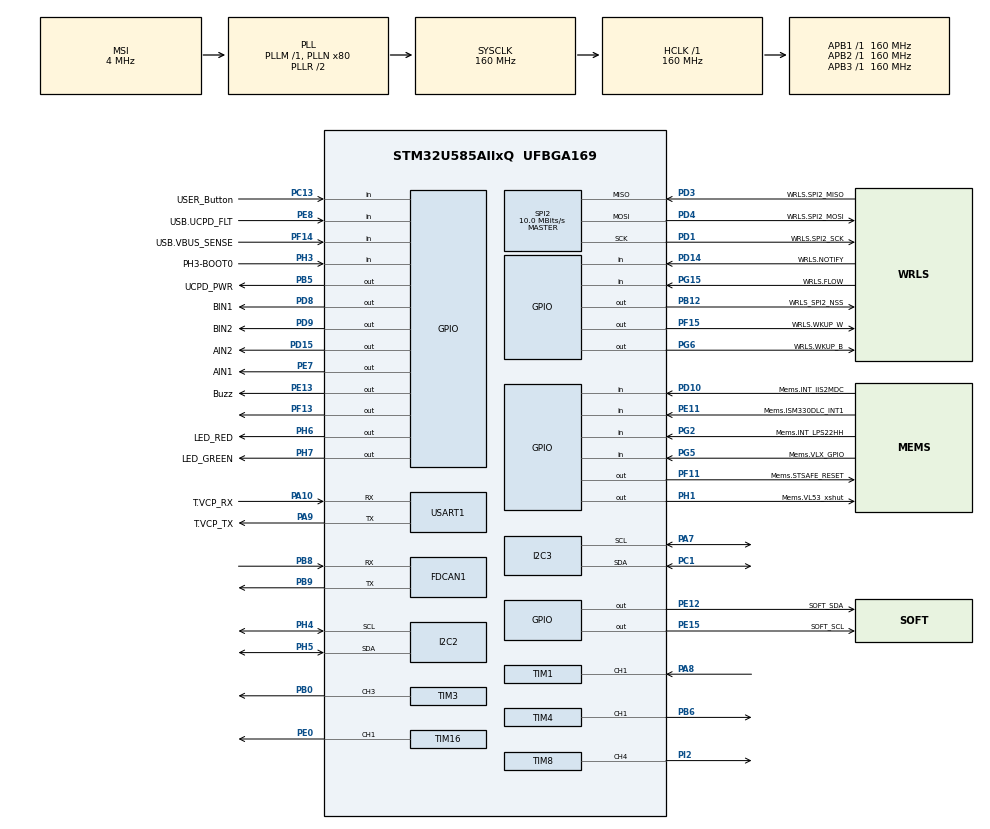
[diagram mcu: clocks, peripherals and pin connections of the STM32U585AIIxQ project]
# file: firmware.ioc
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CORTEX_M33_NS.userName=CORTEX_M33
FDCAN1.AutoRetransmission=ENABLE
FDCAN1.CalculateBaudRateNominal=1000000
FDCAN1.CalculateTimeBitNominal=1000
FDCAN1.CalculateTimeQuantumNominal=62.5
FDCAN1.NominalPrescaler=10
FDCAN1.NominalSyncJumpWidth=2
FDCAN1.NominalTimeSeg1=13
FDCAN1.NominalTimeSeg2=2
FDCAN1.StdFiltersNbr=1
FDCAN1.TxFifoQueueMode=FDCAN_TX_QUEUE_OPERATION
I2C2.Timing=0x30909DEC
I2C3.Timing=0x30909DEC
Mcu.Family=STM32U5
Mcu.Name=STM32U585AIIxQ
Mcu.Package=UFBGA169
NVIC.PriorityGroup=NVIC_PRIORITYGROUP_4
PA10.GPIO_Label=T.VCP_RX
PA10.Mode=Asynchronous
PA10.Signal=USART1_RX
PA11.GPIO_Label=USB.C_P
PA11.Signal=USB_OTG_FS_DM
PA12.GPIO_Label=USB.C_P
PA12.Signal=USB_OTG_FS_DP
PA13\ (JTMS/SWDIO).GPIO_Label=T.SWDIO
PA13\ (JTMS/SWDIO).Signal=DEBUG_JTMS-SWDIO
PA14\ (JTCK/SWCLK).GPIO_Label=T.SWCLK
PA14\ (JTCK/SWCLK).Signal=DEBUG_JTCK-SWCLK
PA15\ (JTDI).GPIO_Label=USB.UCPD_CC1
PA15\ (JTDI).Signal=UCPD1_CC1
PA7.GPIO_Pu=GPIO_PULLUP
PA7.Mode=I2C
PA7.Signal=I2C3_SCL
PA8.Signal=S_TIM1_CH1
PA9.GPIO_Label=T.VCP_TX
PA9.Mode=Asynchronous
PA9.Signal=USART1_TX
PB0.Signal=S_TIM3_CH3
PB1.GPIO_Label=MIC.SDIN0
PB1.Signal=MDF1_SDI0
PB10.GPIO_Label=OCTOSPI.R_CLK_P
PB10.Signal=OCTOSPIM_P1_CLK
PB11.GPIO_Label=OCTOSPI.R_NCS
PB11.Signal=OCTOSPIM_P1_NCS
PB12.GPIO_Label=WRLS_SPI2_NSS
PB12.PinState=GPIO_PIN_SET
PB12.Signal=GPIO_Output
PB15.GPIO_Label=USB.UCPD_CC2
PB15.Signal=UCPD1_CC2
PB2.Signal=TIM8_CH4N
PB3\ (JTDO/TRACESWO).GPIO_Label=T.SWO
PB3\ (JTDO/TRACESWO).Signal=DEBUG_JTDO-SWO
PB5.GPIO_Label=UCPD_PWR
PB5.Signal=GPIO_Output
PB6.Signal=S_TIM4_CH1
PB8.Mode=FDCAN_Activate
PB8.Signal=FDCAN1_RX
PB9.Mode=FDCAN_Activate
PB9.Signal=FDCAN1_TX
PC1.GPIO_Pu=GPIO_PULLUP
PC1.Mode=I2C
PC1.Signal=I2C3_SDA
PC10.GPIO_Label=WRLS.UART4_TX
PC10.Signal=UART4_TX
PC11.GPIO_Label=WRLS.UART4_RX
PC11.Signal=UART4_RX
PC13.GPIO_Label=USER_Button
PC13.Signal=GPIO_Input
PC14-OSC32_IN\ (PC14).GPIO_Label=PC14-OSC32_IN
PC14-OSC32_IN\ (PC14).Signal=RCC_OSC32_IN
PC15-OSC32_OUT\ (PC15).GPIO_Label=PC15-OSC32_OUT
PC15-OSC32_OUT\ (PC15).Signal=RCC_OSC32_OUT
PC3.GPIO_Label=OCTOSPI.R_IO6
PC3.Signal=OCTOSPIM_P1_IO6
PD1.GPIO_Label=WRLS.SPI2_SCK
PD1.Mode=Full_Duplex_Master
PD1.Signal=SPI2_SCK
PD10.GPIO_Label=Mems.INT_IIS2MDC
PD10.Signal=GPIO_Input
PD14.GPIO_Label=WRLS.NOTIFY
PD14.Signal=GPIO_Input
PD15.GPIO_Label=AIN2
PD15.Signal=GPIO_Output
PD3.GPIO_Label=WRLS.SPI2_MISO
PD3.Mode=Full_Duplex_Master
PD3.Signal=SPI2_MISO
PD4.GPIO_Label=WRLS.SPI2_MOSI
PD4.Mode=Full_Duplex_Master
PD4.Signal=SPI2_MOSI
PD7.GPIO_Label=OCTOSPI.R_IO7
PD7.Signal=OCTOSPIM_P1_IO7
PD8.GPIO_Label=BIN1
PD8.Signal=GPIO_Output
PD9.GPIO_Label=BIN2
PD9.Signal=GPIO_Output
PE0.Signal=S_TIM16_CH1
PE10.GPIO_Label=MIC.SDINx
PE10.Signal=ADF1_SDI0
PE11.GPIO_Label=Mems.ISM330DLC_INT1
PE11.Signal=GPIO_Input
PE12.GPIO_Label=SOFT_SDA
PE12.GPIO_ModeDefaultOutputPP=GPIO_MODE_OUTPUT_OD
PE12.GPIO_PuPd=GPIO_NOPULL
PE12.PinState=GPIO_PIN_SET
PE12.Signal=GPIO_Output
PE13.GPIO_Label=Buzz
PE13.PinState=GPIO_PIN_RESET
PE13.Signal=GPIO_Output
PE15.GPIO_Label=SOFT_SCL
PE15.GPIO_ModeDefaultOutputPP=GPIO_MODE_OUTPUT_OD
PE15.GPIO_PuPd=GPIO_NOPULL
PE15.PinState=GPIO_PIN_SET
PE15.Signal=GPIO_Output
PE3.GPIO_Label=OCTOSPI.R_DQS
PE3.Signal=OCTOSPIM_P1_DQS
PE7.GPIO_Label=AIN1
PE7.Signal=GPIO_Output
PE8.GPIO_Label=USB.UCPD_FLT
PE8.Signal=GPIO_Input
PE9.GPIO_Label=MIC.CCK0
PE9.Signal=ADF1_CCK0
PF0.GPIO_Label=OCTOSPI.F_IO0
PF0.Signal=OCTOSPIM_P2_IO0
PF1.GPIO_Label=OCTOSPI.F_IO1
PF1.Signal=OCTOSPIM_P2_IO1
PF10.GPIO_Label=MIC.CCK1
PF10.Signal=MDF1_CCK1
PF11.GPIO_Label=Mems.STSAFE_RESET
PF11.Signal=GPIO_Output
PF12.GPIO_Label=OCTOSPI.F_DQS
PF12.Signal=OCTOSPIM_P2_DQS
PF13.PinState=GPIO_PIN_SET
PF13.Signal=GPIO_Output
PF14.GPIO_Label=USB.VBUS_SENSE
PF14.Signal=GPIO_Input
PF15.GPIO_Label=WRLS.WKUP_W
PF15.Signal=GPIO_Output
PF2.GPIO_Label=OCTOSPI.F_IO2
PF2.Signal=OCTOSPIM_P2_IO2
PF3.GPIO_Label=OCTOSPI.F_IO3
PF3.Signal=OCTOSPIM_P2_IO3
PF4.GPIO_Label=OCTOSPI.F_CLK_P
PF4.Signal=OCTOSPIM_P2_CLK
PF6.GPIO_Label=OCTOSPI.R_IO3
PF6.Signal=OCTOSPIM_P1_IO3
PF7.GPIO_Label=OCTOSPI.R_IO2
PF7.Signal=OCTOSPIM_P1_IO2
PF8.GPIO_Label=OCTOSPI.R_IO0
PF8.Signal=OCTOSPIM_P1_IO0
PF9.GPIO_Label=OCTOSPI.R_IO1
PF9.Signal=OCTOSPIM_P1_IO1
PG15.GPIO_Label=WRLS.FLOW
PG15.Signal=GPIO_Input
PG2.GPIO_Label=Mems.INT_LPS22HH
PG2.Signal=GPIO_Input
PG5.GPIO_Label=Mems.VLX_GPIO
PG5.Signal=GPIO_Input
PG6.GPIO_Label=WRLS.WKUP_B
PG6.Signal=GPIO_Output
PH1-OSC_OUT\ (PH1).GPIO_Label=Mems.VL53_xshut
PH1-OSC_OUT\ (PH1).Signal=GPIO_Output
PH10.GPIO_Label=OCTOSPI.F_IO5
PH10.Signal=OCTOSPIM_P2_IO5
PH11.GPIO_Label=OCTOSPI.F_IO6
PH11.Signal=OCTOSPIM_P2_IO6
PH12.GPIO_Label=OCTOSPI.F_IO7
PH12.Signal=OCTOSPIM_P2_IO7
PH2.GPIO_Label=OCTOSPI.R_IO4
PH2.Signal=OCTOSPIM_P1_IO4
PH3-BOOT0.GPIO_Label=PH3-BOOT0
PH3-BOOT0.Signal=GPIO_Input
PH4.Mode=I2C
PH4.Signal=I2C2_SCL
PH5.Mode=I2C
PH5.Signal=I2C2_SDA
PH6.GPIO_Label=LED_RED
PH6.Signal=GPIO_Output
PH7.GPIO_Label=LED_GREEN
PH7.Signal=GPIO_Output
PH9.GPIO_Label=OCTOSPI.F_IO4
PH9.Signal=OCTOSPIM_P2_IO4
PI0.GPIO_Label=OCTOSPI.R_IO5
PI0.Signal=OCTOSPIM_P1_IO5
PI2.Signal=S_TIM8_CH4
PI5.GPIO_Label=OCTOSPI.F_NCS
PI5.Signal=OCTOSPIM_P2_NCS
PWR.PowerMode=PWR_SMPS_SUPPLY
ProjectManager.HeapSize=0x200
ProjectManager.StackSize=0x400
ProjectManager.TargetToolchain=STM32CubeIDE
RCC.ADCFreq_Value=16000000
RCC.AHBFreq_Value=160000000
RCC.APB1Freq_Value=160000000
RCC.APB1TimFreq_Value=160000000
RCC.APB2Freq_Value=160000000
RCC.APB2TimFreq_Value=160000000
RCC.APB3Freq_Value=160000000
RCC.CortexFreq_Value=160000000
RCC.DACCLockSelectionVirtual=RCC_DAC1CLKSOURCE_LSI
RCC.EPOD_VALUE=4000000
RCC.HCLKFreq_Value=160000000
RCC.HSE_VALUE=16000000
RCC.HSI48_VALUE=48000000
RCC.HSI_VALUE=16000000
RCC.LSE_VALUE=32768
RCC.LSIDIV_VALUE=32000
RCC.MSI_VALUE=4000000
RCC.PLLFRACN=0
RCC.PLLN=80
RCC.SYSCLKFreq_VALUE=160000000
RCC.SYSCLKSource=RCC_SYSCLKSOURCE_PLLCLK
RCC.USBFreq_Value=48000000
RCC.VCOOutputFreq_Value=320000000
SH.S_TIM16_CH1.0=TIM16_CH1,PWM Generation1 CH1
SH.S_TIM1_CH1.0=TIM1_CH1,TriggerSource_TI1FP1
SH.S_TIM3_CH3.0=TIM3_CH3,PWM Generation3 CH3
SH.S_TIM4_CH1.0=TIM4_CH1,PWM Generation1 CH1
SH.S_TIM8_CH4.0=TIM8_CH4,PWM Generation4 CH4
SPI2.BaudRatePrescaler=SPI_BAUDRATEPRESCALER_16
SPI2.CalculateBaudRate=10.0 MBits/s
SPI2.DataSize=SPI_DATASIZE_8BIT
SPI2.Direction=SPI_DIRECTION_2LINES
SPI2.Mode=SPI_MODE_MASTER
SPI2.NSSPMode=SPI_NSS_PULSE_DISABLE
SPI2.VirtualType=VM_MASTER
TIM1.Slave_TriggerFilter=15
TIM16.AutoReloadPreload=TIM_AUTORELOAD_PRELOAD_ENABLE
TIM16.Channel=TIM_CHANNEL_1
TIM16.PeriodNoDither=655
TIM16.Prescaler=15
TIM3.AutoReloadPreload=TIM_AUTORELOAD_PRELOAD_ENABLE
TIM3.Channel-PWM\ Generation3\ CH3=TIM_CHANNEL_3
TIM3.PeriodNoDither=1000
TIM3.Prescaler=159
TIM3.PulseNoDither_3=500
TIM4.AutoReloadPreload=TIM_AUTORELOAD_PRELOAD_ENABLE
TIM4.Channel-PWM\ Generation1\ CH1=TIM_CHANNEL_1
TIM4.PeriodNoDither=665
TIM4.Prescaler=15
TIM8.AutoReloadPreload=TIM_AUTORELOAD_PRELOAD_ENABLE
TIM8.Channel-PWM\ Generation4\ CH4=TIM_CHANNEL_4
TIM8.PeriodNoDither=19999
TIM8.Prescaler=159
TIM8.PulseNoDither_4=1500
USART1.VirtualMode-Asynchronous=VM_ASYNC
VP_ICACHE_VS_ICACHE.Mode=DirectMappedCache
VP_LPBAMQUEUE_VS_QUEUE.Mode=QUEUEMODE
VP_LPBAM_VS_SIG1.Mode=SmartRun
VP_LPBAM_VS_SIG4.Mode=LPDMA1
VP_MEMORYMAP_VS_MEMORYMAP.Mode=CurAppReg
VP_PWR_VS_LPOM.Mode=PowerOptimisation
VP_PWR_VS_SECSignals.Mode=Security/Privilege
VP_THREADX_VS_RTOSJjThreadXJjCoreJjDefault.Mode=Core_Default
VP_TIM16_VS_ClockSourceINT.Mode=Enable_Timer
VP_TIM1_VS_ControllerModeClock.Mode=Clock Mode
VP_TIM3_VS_ClockSourceINT.Mode=Internal
VP_TIM4_VS_ClockSourceINT.Mode=Internal
VP_TIM8_VS_ClockSourceINT.Mode=Internal
board=B-U585I-IOT02A

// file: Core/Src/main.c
/* USER CODE BEGIN Header */
/**
******************************************************************************
* @file           : main.c
* @brief          : Main program body
******************************************************************************
* @attention
*
* Copyright (c) 2025 STMicroelectronics.
* All rights reserved.
*
* This software is licensed under terms that can be found in the LICENSE file
* in the root directory of this software component.
* If no LICENSE file comes with this software, it is provided AS-IS.
*
******************************************************************************
*/
/* USER CODE END Header */
#include "app_threadx.h"
#include "main.h"

/* USER CODE BEGIN Includes */
#include "speed_sensor.h"
/* USER CODE END Includes */

FDCAN_HandleTypeDef hfdcan1;

I2C_HandleTypeDef hi2c2;
I2C_HandleTypeDef hi2c3;

SPI_HandleTypeDef hspi2;

TIM_HandleTypeDef htim1;
TIM_HandleTypeDef htim3;
TIM_HandleTypeDef htim4;
TIM_HandleTypeDef htim8;
TIM_HandleTypeDef htim16;

UART_HandleTypeDef huart1;

void SystemClock_Config(void);
static void SystemPower_Config(void);
static void MX_GPIO_Init(void);
static void MX_ICACHE_Init(void);
static void MX_FDCAN1_Init(void);
static void MX_USART1_UART_Init(void);
static void MX_TIM1_Init(void);
static void MX_I2C3_Init(void);
static void MX_I2C2_Init(void);
static void MX_TIM4_Init(void);
static void MX_TIM8_Init(void);
static void MX_TIM16_Init(void);
static void MX_SPI2_Init(void);
static void MX_TIM3_Init(void);

int main(void)
{

  /* MCU Configuration--------------------------------------------------------*/

  /* Reset of all peripherals, Initializes the Flash interface and the Systick. */
  HAL_Init();

  /* Configure the System Power */
  SystemPower_Config();

  /* Configure the system clock */
  SystemClock_Config();

  /* Initialize all configured peripherals */
  MX_GPIO_Init();
  MX_ICACHE_Init();
  MX_FDCAN1_Init();
  MX_USART1_UART_Init();
  MX_TIM1_Init();
  MX_I2C3_Init();
  MX_I2C2_Init();
  MX_TIM4_Init();
  MX_TIM8_Init();
  MX_TIM16_Init();
  MX_SPI2_Init();
  MX_TIM3_Init();
  /* USER CODE BEGIN 2 */
  HAL_NVIC_SetPriority(SPI2_IRQn, 5, 0);
  HAL_NVIC_EnableIRQ(SPI2_IRQn);
  HAL_TIM_PWM_Start(&htim4, TIM_CHANNEL_1);   // PWMA
  HAL_TIM_PWM_Start(&htim16, TIM_CHANNEL_1);  // PWMB
  HAL_TIMEx_OCN_Start(&htim8, TIM_CHANNEL_4);
  /* USER CODE END 2 */

  MX_ThreadX_Init();

  /* We should never get here as control is now taken by the scheduler */

  /* Infinite loop */
	while (1)
	{

	}
}

void SystemClock_Config(void)
{
  RCC_OscInitTypeDef RCC_OscInitStruct = {0};
  RCC_ClkInitTypeDef RCC_ClkInitStruct = {0};

  /** Configure the main internal regulator output voltage
  */
  if (HAL_PWREx_ControlVoltageScaling(PWR_REGULATOR_VOLTAGE_SCALE1) != HAL_OK)
  {
    Error_Handler();
  }

  /** Initializes the CPU, AHB and APB buses clocks
  */
  RCC_OscInitStruct.OscillatorType = RCC_OSCILLATORTYPE_MSI;
  RCC_OscInitStruct.MSIState = RCC_MSI_ON;
  RCC_OscInitStruct.MSICalibrationValue = RCC_MSICALIBRATION_DEFAULT;
  RCC_OscInitStruct.MSIClockRange = RCC_MSIRANGE_4;
  RCC_OscInitStruct.PLL.PLLState = RCC_PLL_ON;
  RCC_OscInitStruct.PLL.PLLSource = RCC_PLLSOURCE_MSI;
  RCC_OscInitStruct.PLL.PLLMBOOST = RCC_PLLMBOOST_DIV1;
  RCC_OscInitStruct.PLL.PLLM = 1;
  RCC_OscInitStruct.PLL.PLLN = 80;
  RCC_OscInitStruct.PLL.PLLP = 2;
  RCC_OscInitStruct.PLL.PLLQ = 2;
  RCC_OscInitStruct.PLL.PLLR = 2;
  RCC_OscInitStruct.PLL.PLLRGE = RCC_PLLVCIRANGE_0;
  RCC_OscInitStruct.PLL.PLLFRACN = 0;
  if (HAL_RCC_OscConfig(&RCC_OscInitStruct) != HAL_OK)
  {
    Error_Handler();
  }

  /** Initializes the CPU, AHB and APB buses clocks
  */
  RCC_ClkInitStruct.ClockType = RCC_CLOCKTYPE_HCLK|RCC_CLOCKTYPE_SYSCLK
                              |RCC_CLOCKTYPE_PCLK1|RCC_CLOCKTYPE_PCLK2
                              |RCC_CLOCKTYPE_PCLK3;
  RCC_ClkInitStruct.SYSCLKSource = RCC_SYSCLKSOURCE_PLLCLK;
  RCC_ClkInitStruct.AHBCLKDivider = RCC_SYSCLK_DIV1;
  RCC_ClkInitStruct.APB1CLKDivider = RCC_HCLK_DIV1;
  RCC_ClkInitStruct.APB2CLKDivider = RCC_HCLK_DIV1;
  RCC_ClkInitStruct.APB3CLKDivider = RCC_HCLK_DIV1;

  if (HAL_RCC_ClockConfig(&RCC_ClkInitStruct, FLASH_LATENCY_4) != HAL_OK)
  {
    Error_Handler();
  }
}

/**
  * @brief Power Configuration
  * @retval None
  */
static void SystemPower_Config(void)
{
  HAL_PWREx_EnableVddIO2();

  /*
   * Switch to SMPS regulator instead of LDO
   */
  if (HAL_PWREx_ConfigSupply(PWR_SMPS_SUPPLY) != HAL_OK)
  {
    Error_Handler();
  }
}

static void MX_FDCAN1_Init(void)
{

  /* USER CODE BEGIN FDCAN1_Init 0 */
  char *msg;

	FDCAN_FilterTypeDef sFilterConfig;
  /* USER CODE END FDCAN1_Init 0 */

  hfdcan1.Instance = FDCAN1;
  hfdcan1.Init.ClockDivider = FDCAN_CLOCK_DIV1;
  hfdcan1.Init.FrameFormat = FDCAN_FRAME_CLASSIC;
  hfdcan1.Init.Mode = FDCAN_MODE_NORMAL;
  hfdcan1.Init.AutoRetransmission = ENABLE;
  hfdcan1.Init.TransmitPause = DISABLE;
  hfdcan1.Init.ProtocolException = DISABLE;
  hfdcan1.Init.NominalPrescaler = 10;
  hfdcan1.Init.NominalSyncJumpWidth = 2;
  hfdcan1.Init.NominalTimeSeg1 = 13;
  hfdcan1.Init.NominalTimeSeg2 = 2;
  hfdcan1.Init.DataPrescaler = 1;
  hfdcan1.Init.DataSyncJumpWidth = 1;
  hfdcan1.Init.DataTimeSeg1 = 1;
  hfdcan1.Init.DataTimeSeg2 = 1;
  hfdcan1.Init.StdFiltersNbr = 1;
  hfdcan1.Init.ExtFiltersNbr = 0;
  hfdcan1.Init.TxFifoQueueMode = FDCAN_TX_QUEUE_OPERATION;
  if (HAL_FDCAN_Init(&hfdcan1) != HAL_OK)
  {
    Error_Handler();
  }
  /* USER CODE BEGIN FDCAN1_Init 2 */
	sFilterConfig.IdType = FDCAN_STANDARD_ID;
	sFilterConfig.FilterIndex = 0;
	sFilterConfig.FilterType = FDCAN_FILTER_RANGE;
	sFilterConfig.FilterConfig = FDCAN_FILTER_TO_RXFIFO0;
	sFilterConfig.FilterID1 = 0x000;
	sFilterConfig.FilterID2 = 0x7FF;
	if (HAL_FDCAN_ConfigFilter(&hfdcan1, &sFilterConfig) != HAL_OK)
	{
		msg = "FDCAN Filter Config Failed\r\n";
		HAL_UART_Transmit(&huart1, (uint8_t*)msg, strlen(msg), HAL_MAX_DELAY);
		Error_Handler();
	}

	// Activate notifications
	HAL_FDCAN_ActivateNotification(&hfdcan1, FDCAN_IT_RX_FIFO0_NEW_MESSAGE, 0);

	// Start the CAN controller
	if (HAL_FDCAN_Start(&hfdcan1) != HAL_OK)
	{
		msg = "FDCAN Start Failed\r\n";
		HAL_UART_Transmit(&huart1, (uint8_t*)msg, strlen(msg), HAL_MAX_DELAY);
		Error_Handler();
	}
	else
	{
		msg = "FDCAN Started OK\r\n";
		HAL_UART_Transmit(&huart1, (uint8_t*)msg, strlen(msg), HAL_MAX_DELAY);
	}
  /* USER CODE END FDCAN1_Init 2 */

}

static void MX_I2C2_Init(void)
{

  hi2c2.Instance = I2C2;
  hi2c2.Init.Timing = 0x30909DEC;
  hi2c2.Init.OwnAddress1 = 0;
  hi2c2.Init.AddressingMode = I2C_ADDRESSINGMODE_7BIT;
  hi2c2.Init.DualAddressMode = I2C_DUALADDRESS_DISABLE;
  hi2c2.Init.OwnAddress2 = 0;
  hi2c2.Init.OwnAddress2Masks = I2C_OA2_NOMASK;
  hi2c2.Init.GeneralCallMode = I2C_GENERALCALL_DISABLE;
  hi2c2.Init.NoStretchMode = I2C_NOSTRETCH_DISABLE;
  if (HAL_I2C_Init(&hi2c2) != HAL_OK)
  {
    Error_Handler();
  }

  /** Configure Analogue filter
  */
  if (HAL_I2CEx_ConfigAnalogFilter(&hi2c2, I2C_ANALOGFILTER_ENABLE) != HAL_OK)
  {
    Error_Handler();
  }

  /** Configure Digital filter
  */
  if (HAL_I2CEx_ConfigDigitalFilter(&hi2c2, 0) != HAL_OK)
  {
    Error_Handler();
  }

}

static void MX_I2C3_Init(void)
{

  hi2c3.Instance = I2C3;
  hi2c3.Init.Timing = 0x30909DEC;
  hi2c3.Init.OwnAddress1 = 0;
  hi2c3.Init.AddressingMode = I2C_ADDRESSINGMODE_7BIT;
  hi2c3.Init.DualAddressMode = I2C_DUALADDRESS_DISABLE;
  hi2c3.Init.OwnAddress2 = 0;
  hi2c3.Init.OwnAddress2Masks = I2C_OA2_NOMASK;
  hi2c3.Init.GeneralCallMode = I2C_GENERALCALL_DISABLE;
  hi2c3.Init.NoStretchMode = I2C_NOSTRETCH_DISABLE;
  if (HAL_I2C_Init(&hi2c3) != HAL_OK)
  {
    Error_Handler();
  }

  /** Configure Analogue filter
  */
  if (HAL_I2CEx_ConfigAnalogFilter(&hi2c3, I2C_ANALOGFILTER_ENABLE) != HAL_OK)
  {
    Error_Handler();
  }

  /** Configure Digital filter
  */
  if (HAL_I2CEx_ConfigDigitalFilter(&hi2c3, 0) != HAL_OK)
  {
    Error_Handler();
  }

}

static void MX_ICACHE_Init(void)
{

  /** Enable instruction cache in 1-way (direct mapped cache)
  */
  if (HAL_ICACHE_ConfigAssociativityMode(ICACHE_1WAY) != HAL_OK)
  {
    Error_Handler();
  }
  if (HAL_ICACHE_Enable() != HAL_OK)
  {
    Error_Handler();
  }

}

static void MX_SPI2_Init(void)
{

  SPI_AutonomousModeConfTypeDef HAL_SPI_AutonomousMode_Cfg_Struct = {0};

  /* SPI2 parameter configuration*/
  hspi2.Instance = SPI2;
  hspi2.Init.Mode = SPI_MODE_MASTER;
  hspi2.Init.Direction = SPI_DIRECTION_2LINES;
  hspi2.Init.DataSize = SPI_DATASIZE_8BIT;
  hspi2.Init.CLKPolarity = SPI_POLARITY_LOW;
  hspi2.Init.CLKPhase = SPI_PHASE_1EDGE;
  hspi2.Init.NSS = SPI_NSS_SOFT;
  hspi2.Init.BaudRatePrescaler = SPI_BAUDRATEPRESCALER_16;
  hspi2.Init.FirstBit = SPI_FIRSTBIT_MSB;
  hspi2.Init.TIMode = SPI_TIMODE_DISABLE;
  hspi2.Init.CRCCalculation = SPI_CRCCALCULATION_DISABLE;
  hspi2.Init.CRCPolynomial = 0x7;
  hspi2.Init.NSSPMode = SPI_NSS_PULSE_DISABLE;
  hspi2.Init.NSSPolarity = SPI_NSS_POLARITY_LOW;
  hspi2.Init.FifoThreshold = SPI_FIFO_THRESHOLD_01DATA;
  hspi2.Init.MasterSSIdleness = SPI_MASTER_SS_IDLENESS_00CYCLE;
  hspi2.Init.MasterInterDataIdleness = SPI_MASTER_INTERDATA_IDLENESS_00CYCLE;
  hspi2.Init.MasterReceiverAutoSusp = SPI_MASTER_RX_AUTOSUSP_DISABLE;
  hspi2.Init.MasterKeepIOState = SPI_MASTER_KEEP_IO_STATE_DISABLE;
  hspi2.Init.IOSwap = SPI_IO_SWAP_DISABLE;
  hspi2.Init.ReadyMasterManagement = SPI_RDY_MASTER_MANAGEMENT_INTERNALLY;
  hspi2.Init.ReadyPolarity = SPI_RDY_POLARITY_HIGH;
  if (HAL_SPI_Init(&hspi2) != HAL_OK)
  {
    Error_Handler();
  }
  HAL_SPI_AutonomousMode_Cfg_Struct.TriggerState = SPI_AUTO_MODE_DISABLE;
  HAL_SPI_AutonomousMode_Cfg_Struct.TriggerSelection = SPI_GRP1_GPDMA_CH0_TCF_TRG;
  HAL_SPI_AutonomousMode_Cfg_Struct.TriggerPolarity = SPI_TRIG_POLARITY_RISING;
  if (HAL_SPIEx_SetConfigAutonomousMode(&hspi2, &HAL_SPI_AutonomousMode_Cfg_Struct) != HAL_OK)
  {
    Error_Handler();
  }

}

static void MX_TIM1_Init(void)
{

  TIM_SlaveConfigTypeDef sSlaveConfig = {0};
  TIM_MasterConfigTypeDef sMasterConfig = {0};

  htim1.Instance = TIM1;
  htim1.Init.Prescaler = 0;
  htim1.Init.CounterMode = TIM_COUNTERMODE_UP;
  htim1.Init.Period = 65535;
  htim1.Init.ClockDivision = TIM_CLOCKDIVISION_DIV1;
  htim1.Init.RepetitionCounter = 0;
  htim1.Init.AutoReloadPreload = TIM_AUTORELOAD_PRELOAD_DISABLE;
  if (HAL_TIM_Base_Init(&htim1) != HAL_OK)
  {
    Error_Handler();
  }
  sSlaveConfig.SlaveMode = TIM_SLAVEMODE_EXTERNAL1;
  sSlaveConfig.InputTrigger = TIM_TS_TI1FP1;
  sSlaveConfig.TriggerPolarity = TIM_TRIGGERPOLARITY_RISING;
  sSlaveConfig.TriggerFilter = 15;
  if (HAL_TIM_SlaveConfigSynchro(&htim1, &sSlaveConfig) != HAL_OK)
  {
    Error_Handler();
  }
  sMasterConfig.MasterOutputTrigger = TIM_TRGO_RESET;
  sMasterConfig.MasterOutputTrigger2 = TIM_TRGO2_RESET;
  sMasterConfig.MasterSlaveMode = TIM_MASTERSLAVEMODE_DISABLE;
  if (HAL_TIMEx_MasterConfigSynchronization(&htim1, &sMasterConfig) != HAL_OK)
  {
    Error_Handler();
  }

}

static void MX_TIM3_Init(void)
{

  TIM_ClockConfigTypeDef sClockSourceConfig = {0};
  TIM_MasterConfigTypeDef sMasterConfig = {0};
  TIM_OC_InitTypeDef sConfigOC = {0};

  htim3.Instance = TIM3;
  htim3.Init.Prescaler = 159;
  htim3.Init.CounterMode = TIM_COUNTERMODE_UP;
  htim3.Init.Period = 1000;
  htim3.Init.ClockDivision = TIM_CLOCKDIVISION_DIV1;
  htim3.Init.AutoReloadPreload = TIM_AUTORELOAD_PRELOAD_ENABLE;
  if (HAL_TIM_Base_Init(&htim3) != HAL_OK)
  {
    Error_Handler();
  }
  sClockSourceConfig.ClockSource = TIM_CLOCKSOURCE_INTERNAL;
  if (HAL_TIM_ConfigClockSource(&htim3, &sClockSourceConfig) != HAL_OK)
  {
    Error_Handler();
  }
  if (HAL_TIM_PWM_Init(&htim3) != HAL_OK)
  {
    Error_Handler();
  }
  sMasterConfig.MasterOutputTrigger = TIM_TRGO_RESET;
  sMasterConfig.MasterSlaveMode = TIM_MASTERSLAVEMODE_DISABLE;
  if (HAL_TIMEx_MasterConfigSynchronization(&htim3, &sMasterConfig) != HAL_OK)
  {
    Error_Handler();
  }
  sConfigOC.OCMode = TIM_OCMODE_PWM1;
  sConfigOC.Pulse = 500;
  sConfigOC.OCPolarity = TIM_OCPOLARITY_HIGH;
  sConfigOC.OCFastMode = TIM_OCFAST_DISABLE;
  if (HAL_TIM_PWM_ConfigChannel(&htim3, &sConfigOC, TIM_CHANNEL_3) != HAL_OK)
  {
    Error_Handler();
  }
  HAL_TIM_MspPostInit(&htim3);

}

static void MX_TIM4_Init(void)
{

  TIM_ClockConfigTypeDef sClockSourceConfig = {0};
  TIM_MasterConfigTypeDef sMasterConfig = {0};
  TIM_OC_InitTypeDef sConfigOC = {0};

  htim4.Instance = TIM4;
  htim4.Init.Prescaler = 15;
  htim4.Init.CounterMode = TIM_COUNTERMODE_UP;
  htim4.Init.Period = 665;
  htim4.Init.ClockDivision = TIM_CLOCKDIVISION_DIV1;
  htim4.Init.AutoReloadPreload = TIM_AUTORELOAD_PRELOAD_ENABLE;
  if (HAL_TIM_Base_Init(&htim4) != HAL_OK)
  {
    Error_Handler();
  }
  sClockSourceConfig.ClockSource = TIM_CLOCKSOURCE_INTERNAL;
  if (HAL_TIM_ConfigClockSource(&htim4, &sClockSourceConfig) != HAL_OK)
  {
    Error_Handler();
  }
  if (HAL_TIM_PWM_Init(&htim4) != HAL_OK)
  {
    Error_Handler();
  }
  sMasterConfig.MasterOutputTrigger = TIM_TRGO_RESET;
  sMasterConfig.MasterSlaveMode = TIM_MASTERSLAVEMODE_DISABLE;
  if (HAL_TIMEx_MasterConfigSynchronization(&htim4, &sMasterConfig) != HAL_OK)
  {
    Error_Handler();
  }
  sConfigOC.OCMode = TIM_OCMODE_PWM1;
  sConfigOC.Pulse = 0;
  sConfigOC.OCPolarity = TIM_OCPOLARITY_HIGH;
  sConfigOC.OCFastMode = TIM_OCFAST_DISABLE;
  if (HAL_TIM_PWM_ConfigChannel(&htim4, &sConfigOC, TIM_CHANNEL_1) != HAL_OK)
  {
    Error_Handler();
  }
  HAL_TIM_MspPostInit(&htim4);

}

static void MX_TIM8_Init(void)
{

  TIM_ClockConfigTypeDef sClockSourceConfig = {0};
  TIM_MasterConfigTypeDef sMasterConfig = {0};
  TIM_OC_InitTypeDef sConfigOC = {0};
  TIM_BreakDeadTimeConfigTypeDef sBreakDeadTimeConfig = {0};

  htim8.Instance = TIM8;
  htim8.Init.Prescaler = 159;
  htim8.Init.CounterMode = TIM_COUNTERMODE_UP;
  htim8.Init.Period = 19999;
  htim8.Init.ClockDivision = TIM_CLOCKDIVISION_DIV1;
  htim8.Init.RepetitionCounter = 0;
  htim8.Init.AutoReloadPreload = TIM_AUTORELOAD_PRELOAD_ENABLE;
  if (HAL_TIM_Base_Init(&htim8) != HAL_OK)
  {
    Error_Handler();
  }
  sClockSourceConfig.ClockSource = TIM_CLOCKSOURCE_INTERNAL;
  if (HAL_TIM_ConfigClockSource(&htim8, &sClockSourceConfig) != HAL_OK)
  {
    Error_Handler();
  }
  if (HAL_TIM_PWM_Init(&htim8) != HAL_OK)
  {
    Error_Handler();
  }
  sMasterConfig.MasterOutputTrigger = TIM_TRGO_RESET;
  sMasterConfig.MasterOutputTrigger2 = TIM_TRGO2_RESET;
  sMasterConfig.MasterSlaveMode = TIM_MASTERSLAVEMODE_DISABLE;
  if (HAL_TIMEx_MasterConfigSynchronization(&htim8, &sMasterConfig) != HAL_OK)
  {
    Error_Handler();
  }
  sConfigOC.OCMode = TIM_OCMODE_PWM1;
  sConfigOC.Pulse = 1500;
  sConfigOC.OCPolarity = TIM_OCPOLARITY_HIGH;
  sConfigOC.OCNPolarity = TIM_OCNPOLARITY_HIGH;
  sConfigOC.OCFastMode = TIM_OCFAST_DISABLE;
  sConfigOC.OCIdleState = TIM_OCIDLESTATE_RESET;
  sConfigOC.OCNIdleState = TIM_OCNIDLESTATE_RESET;
  if (HAL_TIM_PWM_ConfigChannel(&htim8, &sConfigOC, TIM_CHANNEL_4) != HAL_OK)
  {
    Error_Handler();
  }
  sBreakDeadTimeConfig.OffStateRunMode = TIM_OSSR_DISABLE;
  sBreakDeadTimeConfig.OffStateIDLEMode = TIM_OSSI_DISABLE;
  sBreakDeadTimeConfig.LockLevel = TIM_LOCKLEVEL_OFF;
  sBreakDeadTimeConfig.DeadTime = 0;
  sBreakDeadTimeConfig.BreakState = TIM_BREAK_DISABLE;
  sBreakDeadTimeConfig.BreakPolarity = TIM_BREAKPOLARITY_HIGH;
  sBreakDeadTimeConfig.BreakFilter = 0;
  sBreakDeadTimeConfig.BreakAFMode = TIM_BREAK_AFMODE_INPUT;
  sBreakDeadTimeConfig.Break2State = TIM_BREAK2_DISABLE;
  sBreakDeadTimeConfig.Break2Polarity = TIM_BREAK2POLARITY_HIGH;
  sBreakDeadTimeConfig.Break2Filter = 0;
  sBreakDeadTimeConfig.Break2AFMode = TIM_BREAK_AFMODE_INPUT;
  sBreakDeadTimeConfig.AutomaticOutput = TIM_AUTOMATICOUTPUT_DISABLE;
  if (HAL_TIMEx_ConfigBreakDeadTime(&htim8, &sBreakDeadTimeConfig) != HAL_OK)
  {
    Error_Handler();
  }
  HAL_TIM_MspPostInit(&htim8);

}

static void MX_TIM16_Init(void)
{

  TIM_OC_InitTypeDef sConfigOC = {0};
  TIM_BreakDeadTimeConfigTypeDef sBreakDeadTimeConfig = {0};

  htim16.Instance = TIM16;
  htim16.Init.Prescaler = 15;
  htim16.Init.CounterMode = TIM_COUNTERMODE_UP;
  htim16.Init.Period = 655;
  htim16.Init.ClockDivision = TIM_CLOCKDIVISION_DIV1;
  htim16.Init.RepetitionCounter = 0;
  htim16.Init.AutoReloadPreload = TIM_AUTORELOAD_PRELOAD_ENABLE;
  if (HAL_TIM_Base_Init(&htim16) != HAL_OK)
  {
    Error_Handler();
  }
  if (HAL_TIM_PWM_Init(&htim16) != HAL_OK)
  {
    Error_Handler();
  }
  sConfigOC.OCMode = TIM_OCMODE_PWM1;
  sConfigOC.Pulse = 0;
  sConfigOC.OCPolarity = TIM_OCPOLARITY_HIGH;
  sConfigOC.OCNPolarity = TIM_OCNPOLARITY_HIGH;
  sConfigOC.OCFastMode = TIM_OCFAST_DISABLE;
  sConfigOC.OCIdleState = TIM_OCIDLESTATE_RESET;
  sConfigOC.OCNIdleState = TIM_OCNIDLESTATE_RESET;
  if (HAL_TIM_PWM_ConfigChannel(&htim16, &sConfigOC, TIM_CHANNEL_1) != HAL_OK)
  {
    Error_Handler();
  }
  sBreakDeadTimeConfig.OffStateRunMode = TIM_OSSR_DISABLE;
  sBreakDeadTimeConfig.OffStateIDLEMode = TIM_OSSI_DISABLE;
  sBreakDeadTimeConfig.LockLevel = TIM_LOCKLEVEL_OFF;
  sBreakDeadTimeConfig.DeadTime = 0;
  sBreakDeadTimeConfig.BreakState = TIM_BREAK_DISABLE;
  sBreakDeadTimeConfig.BreakPolarity = TIM_BREAKPOLARITY_HIGH;
  sBreakDeadTimeConfig.BreakFilter = 0;
  sBreakDeadTimeConfig.AutomaticOutput = TIM_AUTOMATICOUTPUT_DISABLE;
  if (HAL_TIMEx_ConfigBreakDeadTime(&htim16, &sBreakDeadTimeConfig) != HAL_OK)
  {
    Error_Handler();
  }
  HAL_TIM_MspPostInit(&htim16);

}

static void MX_USART1_UART_Init(void)
{

  huart1.Instance = USART1;
  huart1.Init.BaudRate = 115200;
  huart1.Init.WordLength = UART_WORDLENGTH_8B;
  huart1.Init.StopBits = UART_STOPBITS_1;
  huart1.Init.Parity = UART_PARITY_NONE;
  huart1.Init.Mode = UART_MODE_TX_RX;
  huart1.Init.HwFlowCtl = UART_HWCONTROL_NONE;
  huart1.Init.OverSampling = UART_OVERSAMPLING_16;
  huart1.Init.OneBitSampling = UART_ONE_BIT_SAMPLE_DISABLE;
  huart1.Init.ClockPrescaler = UART_PRESCALER_DIV1;
  huart1.AdvancedInit.AdvFeatureInit = UART_ADVFEATURE_NO_INIT;
  if (HAL_UART_Init(&huart1) != HAL_OK)
  {
    Error_Handler();
  }
  if (HAL_UARTEx_SetTxFifoThreshold(&huart1, UART_TXFIFO_THRESHOLD_1_8) != HAL_OK)
  {
    Error_Handler();
  }
  if (HAL_UARTEx_SetRxFifoThreshold(&huart1, UART_RXFIFO_THRESHOLD_1_8) != HAL_OK)
  {
    Error_Handler();
  }
  if (HAL_UARTEx_DisableFifoMode(&huart1) != HAL_OK)
  {
    Error_Handler();
  }

}

static void MX_GPIO_Init(void)
{
  GPIO_InitTypeDef GPIO_InitStruct = {0};

  /* GPIO Ports Clock Enable */
  __HAL_RCC_GPIOG_CLK_ENABLE();
  __HAL_RCC_GPIOC_CLK_ENABLE();
  __HAL_RCC_GPIOA_CLK_ENABLE();
  __HAL_RCC_GPIOI_CLK_ENABLE();
  __HAL_RCC_GPIOB_CLK_ENABLE();
  __HAL_RCC_GPIOH_CLK_ENABLE();
  __HAL_RCC_GPIOD_CLK_ENABLE();
  __HAL_RCC_GPIOE_CLK_ENABLE();
  __HAL_RCC_GPIOF_CLK_ENABLE();

  /*Configure GPIO pin Output Level */
  HAL_GPIO_WritePin(UCPD_PWR_GPIO_Port, UCPD_PWR_Pin, GPIO_PIN_RESET);

  /*Configure GPIO pin Output Level */
  HAL_GPIO_WritePin(GPIOH, LED_RED_Pin|LED_GREEN_Pin|Mems_VL53_xshut_Pin, GPIO_PIN_RESET);

  /*Configure GPIO pin Output Level */
  HAL_GPIO_WritePin(WRLS_WKUP_B_GPIO_Port, WRLS_WKUP_B_Pin, GPIO_PIN_RESET);

  /*Configure GPIO pin Output Level */
  HAL_GPIO_WritePin(GPIOD, AIN2_Pin|BIN1_Pin|BIN2_Pin, GPIO_PIN_RESET);

  /*Configure GPIO pin Output Level */
  HAL_GPIO_WritePin(GPIOE, AIN1_Pin|Buzz_Pin, GPIO_PIN_RESET);

  /*Configure GPIO pin Output Level */
  HAL_GPIO_WritePin(WRLS_SPI2_NSS_GPIO_Port, WRLS_SPI2_NSS_Pin, GPIO_PIN_SET);

  /*Configure GPIO pin Output Level */
  HAL_GPIO_WritePin(GPIOF, Mems_STSAFE_RESET_Pin|WRLS_WKUP_W_Pin, GPIO_PIN_RESET);

  /*Configure GPIO pin Output Level */
  HAL_GPIO_WritePin(GPIOF, GPIO_PIN_13, GPIO_PIN_SET);

  /*Configure GPIO pin Output Level */
  HAL_GPIO_WritePin(GPIOE, SOFT_SCL_Pin|SOFT_SDA_Pin, GPIO_PIN_SET);

  /*Configure GPIO pins : WRLS_FLOW_Pin Mems_VLX_GPIO_Pin Mems_INT_LPS22HH_Pin */
  GPIO_InitStruct.Pin = WRLS_FLOW_Pin|Mems_VLX_GPIO_Pin|Mems_INT_LPS22HH_Pin;
  GPIO_InitStruct.Mode = GPIO_MODE_INPUT;
  GPIO_InitStruct.Pull = GPIO_NOPULL;
  HAL_GPIO_Init(GPIOG, &GPIO_InitStruct);

  /*Configure GPIO pins : WRLS_UART4_RX_Pin WRLS_UART4_TX_Pin */
  GPIO_InitStruct.Pin = WRLS_UART4_RX_Pin|WRLS_UART4_TX_Pin;
  GPIO_InitStruct.Mode = GPIO_MODE_AF_PP;
  GPIO_InitStruct.Pull = GPIO_NOPULL;
  GPIO_InitStruct.Speed = GPIO_SPEED_FREQ_LOW;
  GPIO_InitStruct.Alternate = GPIO_AF8_UART4;
  HAL_GPIO_Init(GPIOC, &GPIO_InitStruct);

  /*Configure GPIO pin : USB_UCPD_CC1_Pin */
  GPIO_InitStruct.Pin = USB_UCPD_CC1_Pin;
  GPIO_InitStruct.Mode = GPIO_MODE_ANALOG;
  GPIO_InitStruct.Pull = GPIO_NOPULL;
  HAL_GPIO_Init(USB_UCPD_CC1_GPIO_Port, &GPIO_InitStruct);

  /*Configure GPIO pin : OCTOSPI_F_NCS_Pin */
  GPIO_InitStruct.Pin = OCTOSPI_F_NCS_Pin;
  GPIO_InitStruct.Mode = GPIO_MODE_AF_PP;
  GPIO_InitStruct.Pull = GPIO_NOPULL;
  GPIO_InitStruct.Speed = GPIO_SPEED_FREQ_VERY_HIGH;
  GPIO_InitStruct.Alternate = GPIO_AF5_OCTOSPI2;
  HAL_GPIO_Init(OCTOSPI_F_NCS_GPIO_Port, &GPIO_InitStruct);

  /*Configure GPIO pin : OCTOSPI_R_IO5_Pin */
  GPIO_InitStruct.Pin = OCTOSPI_R_IO5_Pin;
  GPIO_InitStruct.Mode = GPIO_MODE_AF_PP;
  GPIO_InitStruct.Pull = GPIO_NOPULL;
  GPIO_InitStruct.Speed = GPIO_SPEED_FREQ_VERY_HIGH;
  GPIO_InitStruct.Alternate = GPIO_AF3_OCTOSPI1;
  HAL_GPIO_Init(OCTOSPI_R_IO5_GPIO_Port, &GPIO_InitStruct);

  /*Configure GPIO pins : OCTOSPI_F_IO7_Pin OCTOSPI_F_IO5_Pin OCTOSPI_F_IO6_Pin OCTOSPI_F_IO4_Pin */
  GPIO_InitStruct.Pin = OCTOSPI_F_IO7_Pin|OCTOSPI_F_IO5_Pin|OCTOSPI_F_IO6_Pin|OCTOSPI_F_IO4_Pin;
  GPIO_InitStruct.Mode = GPIO_MODE_AF_PP;
  GPIO_InitStruct.Pull = GPIO_NOPULL;
  GPIO_InitStruct.Speed = GPIO_SPEED_FREQ_VERY_HIGH;
  GPIO_InitStruct.Alternate = GPIO_AF5_OCTOSPI2;
  HAL_GPIO_Init(GPIOH, &GPIO_InitStruct);

  /*Configure GPIO pin : PH3_BOOT0_Pin */
  GPIO_InitStruct.Pin = PH3_BOOT0_Pin;
  GPIO_InitStruct.Mode = GPIO_MODE_INPUT;
  GPIO_InitStruct.Pull = GPIO_NOPULL;
  HAL_GPIO_Init(PH3_BOOT0_GPIO_Port, &GPIO_InitStruct);

  /*Configure GPIO pins : UCPD_PWR_Pin WRLS_SPI2_NSS_Pin */
  GPIO_InitStruct.Pin = UCPD_PWR_Pin|WRLS_SPI2_NSS_Pin;
  GPIO_InitStruct.Mode = GPIO_MODE_OUTPUT_PP;
  GPIO_InitStruct.Pull = GPIO_NOPULL;
  GPIO_InitStruct.Speed = GPIO_SPEED_FREQ_LOW;
  HAL_GPIO_Init(GPIOB, &GPIO_InitStruct);

  /*Configure GPIO pin : OCTOSPI_R_DQS_Pin */
  GPIO_InitStruct.Pin = OCTOSPI_R_DQS_Pin;
  GPIO_InitStruct.Mode = GPIO_MODE_AF_PP;
  GPIO_InitStruct.Pull = GPIO_NOPULL;
  GPIO_InitStruct.Speed = GPIO_SPEED_FREQ_VERY_HIGH;
  GPIO_InitStruct.Alternate = GPIO_AF3_OCTOSPI1;
  HAL_GPIO_Init(OCTOSPI_R_DQS_GPIO_Port, &GPIO_InitStruct);

  /*Configure GPIO pin : OCTOSPI_R_IO7_Pin */
  GPIO_InitStruct.Pin = OCTOSPI_R_IO7_Pin;
  GPIO_InitStruct.Mode = GPIO_MODE_AF_PP;
  GPIO_InitStruct.Pull = GPIO_NOPULL;
  GPIO_InitStruct.Speed = GPIO_SPEED_FREQ_VERY_HIGH;
  GPIO_InitStruct.Alternate = GPIO_AF10_OCTOSPI1;
  HAL_GPIO_Init(OCTOSPI_R_IO7_GPIO_Port, &GPIO_InitStruct);

  /*Configure GPIO pins : OCTOSPI_F_IO0_Pin OCTOSPI_F_IO1_Pin OCTOSPI_F_IO2_Pin OCTOSPI_F_IO3_Pin
                           OCTOSPI_F_CLK_P_Pin OCTOSPI_F_DQS_Pin */
  GPIO_InitStruct.Pin = OCTOSPI_F_IO0_Pin|OCTOSPI_F_IO1_Pin|OCTOSPI_F_IO2_Pin|OCTOSPI_F_IO3_Pin
                          |OCTOSPI_F_CLK_P_Pin|OCTOSPI_F_DQS_Pin;
  GPIO_InitStruct.Mode = GPIO_MODE_AF_PP;
  GPIO_InitStruct.Pull = GPIO_NOPULL;
  GPIO_InitStruct.Speed = GPIO_SPEED_FREQ_VERY_HIGH;
  GPIO_InitStruct.Alternate = GPIO_AF5_OCTOSPI2;
  HAL_GPIO_Init(GPIOF, &GPIO_InitStruct);

  /*Configure GPIO pin : USER_Button_Pin */
  GPIO_InitStruct.Pin = USER_Button_Pin;
  GPIO_InitStruct.Mode = GPIO_MODE_INPUT;
  GPIO_InitStruct.Pull = GPIO_NOPULL;
  HAL_GPIO_Init(USER_Button_GPIO_Port, &GPIO_InitStruct);

  /*Configure GPIO pins : LED_RED_Pin LED_GREEN_Pin Mems_VL53_xshut_Pin */
  GPIO_InitStruct.Pin = LED_RED_Pin|LED_GREEN_Pin|Mems_VL53_xshut_Pin;
  GPIO_InitStruct.Mode = GPIO_MODE_OUTPUT_PP;
  GPIO_InitStruct.Pull = GPIO_NOPULL;
  GPIO_InitStruct.Speed = GPIO_SPEED_FREQ_LOW;
  HAL_GPIO_Init(GPIOH, &GPIO_InitStruct);

  /*Configure GPIO pins : OCTOSPI_R_IO0_Pin OCTOSPI_R_IO2_Pin OCTOSPI_R_IO1_Pin OCTOSPI_R_IO3_Pin */
  GPIO_InitStruct.Pin = OCTOSPI_R_IO0_Pin|OCTOSPI_R_IO2_Pin|OCTOSPI_R_IO1_Pin|OCTOSPI_R_IO3_Pin;
  GPIO_InitStruct.Mode = GPIO_MODE_AF_PP;
  GPIO_InitStruct.Pull = GPIO_NOPULL;
  GPIO_InitStruct.Speed = GPIO_SPEED_FREQ_VERY_HIGH;
  GPIO_InitStruct.Alternate = GPIO_AF10_OCTOSPI1;
  HAL_GPIO_Init(GPIOF, &GPIO_InitStruct);

  /*Configure GPIO pin : OCTOSPI_R_IO4_Pin */
  GPIO_InitStruct.Pin = OCTOSPI_R_IO4_Pin;
  GPIO_InitStruct.Mode = GPIO_MODE_AF_PP;
  GPIO_InitStruct.Pull = GPIO_NOPULL;
  GPIO_InitStruct.Speed = GPIO_SPEED_FREQ_VERY_HIGH;
  GPIO_InitStruct.Alternate = GPIO_AF3_OCTOSPI1;
  HAL_GPIO_Init(OCTOSPI_R_IO4_GPIO_Port, &GPIO_InitStruct);

  /*Configure GPIO pins : USB_C_P_Pin USB_C_PA11_Pin */
  GPIO_InitStruct.Pin = USB_C_P_Pin|USB_C_PA11_Pin;
  GPIO_InitStruct.Mode = GPIO_MODE_AF_PP;
  GPIO_InitStruct.Pull = GPIO_NOPULL;
  GPIO_InitStruct.Speed = GPIO_SPEED_FREQ_LOW;
  GPIO_InitStruct.Alternate = GPIO_AF10_USB;
  HAL_GPIO_Init(GPIOA, &GPIO_InitStruct);

  /*Configure GPIO pin : MIC_CCK1_Pin */
  GPIO_InitStruct.Pin = MIC_CCK1_Pin;
  GPIO_InitStruct.Mode = GPIO_MODE_AF_PP;
  GPIO_InitStruct.Pull = GPIO_NOPULL;
  GPIO_InitStruct.Speed = GPIO_SPEED_FREQ_LOW;
  GPIO_InitStruct.Alternate = GPIO_AF6_MDF1;
  HAL_GPIO_Init(MIC_CCK1_GPIO_Port, &GPIO_InitStruct);

  /*Configure GPIO pins : MIC_SDINx_Pin MIC_CCK0_Pin */
  GPIO_InitStruct.Pin = MIC_SDINx_Pin|MIC_CCK0_Pin;
  GPIO_InitStruct.Mode = GPIO_MODE_AF_PP;
  GPIO_InitStruct.Pull = GPIO_NOPULL;
  GPIO_InitStruct.Speed = GPIO_SPEED_FREQ_LOW;
  GPIO_InitStruct.Alternate = GPIO_AF3_ADF1;
  HAL_GPIO_Init(GPIOE, &GPIO_InitStruct);

  /*Configure GPIO pin : WRLS_WKUP_B_Pin */
  GPIO_InitStruct.Pin = WRLS_WKUP_B_Pin;
  GPIO_InitStruct.Mode = GPIO_MODE_OUTPUT_PP;
  GPIO_InitStruct.Pull = GPIO_NOPULL;
  GPIO_InitStruct.Speed = GPIO_SPEED_FREQ_LOW;
  HAL_GPIO_Init(WRLS_WKUP_B_GPIO_Port, &GPIO_InitStruct);

  /*Configure GPIO pins : WRLS_NOTIFY_Pin Mems_INT_IIS2MDC_Pin */
  GPIO_InitStruct.Pin = WRLS_NOTIFY_Pin|Mems_INT_IIS2MDC_Pin;
  GPIO_InitStruct.Mode = GPIO_MODE_INPUT;
  GPIO_InitStruct.Pull = GPIO_NOPULL;
  HAL_GPIO_Init(GPIOD, &GPIO_InitStruct);

  /*Configure GPIO pins : AIN2_Pin BIN1_Pin BIN2_Pin */
  GPIO_InitStruct.Pin = AIN2_Pin|BIN1_Pin|BIN2_Pin;
  GPIO_InitStruct.Mode = GPIO_MODE_OUTPUT_PP;
  GPIO_InitStruct.Pull = GPIO_NOPULL;
  GPIO_InitStruct.Speed = GPIO_SPEED_FREQ_LOW;
  HAL_GPIO_Init(GPIOD, &GPIO_InitStruct);

  /*Configure GPIO pin : OCTOSPI_R_IO6_Pin */
  GPIO_InitStruct.Pin = OCTOSPI_R_IO6_Pin;
  GPIO_InitStruct.Mode = GPIO_MODE_AF_PP;
  GPIO_InitStruct.Pull = GPIO_NOPULL;
  GPIO_InitStruct.Speed = GPIO_SPEED_FREQ_VERY_HIGH;
  GPIO_InitStruct.Alternate = GPIO_AF10_OCTOSPI1;
  HAL_GPIO_Init(OCTOSPI_R_IO6_GPIO_Port, &GPIO_InitStruct);

  /*Configure GPIO pins : USB_UCPD_FLT_Pin Mems_ISM330DLC_INT1_Pin */
  GPIO_InitStruct.Pin = USB_UCPD_FLT_Pin|Mems_ISM330DLC_INT1_Pin;
  GPIO_InitStruct.Mode = GPIO_MODE_INPUT;
  GPIO_InitStruct.Pull = GPIO_NOPULL;
  HAL_GPIO_Init(GPIOE, &GPIO_InitStruct);

  /*Configure GPIO pins : OCTOSPI_R_CLK_P_Pin OCTOSPI_R_NCS_Pin */
  GPIO_InitStruct.Pin = OCTOSPI_R_CLK_P_Pin|OCTOSPI_R_NCS_Pin;
  GPIO_InitStruct.Mode = GPIO_MODE_AF_PP;
  GPIO_InitStruct.Pull = GPIO_NOPULL;
  GPIO_InitStruct.Speed = GPIO_SPEED_FREQ_VERY_HIGH;
  GPIO_InitStruct.Alternate = GPIO_AF10_OCTOSPI1;
  HAL_GPIO_Init(GPIOB, &GPIO_InitStruct);

  /*Configure GPIO pin : USB_VBUS_SENSE_Pin */
  GPIO_InitStruct.Pin = USB_VBUS_SENSE_Pin;
  GPIO_InitStruct.Mode = GPIO_MODE_INPUT;
  GPIO_InitStruct.Pull = GPIO_NOPULL;
  HAL_GPIO_Init(USB_VBUS_SENSE_GPIO_Port, &GPIO_InitStruct);

  /*Configure GPIO pins : AIN1_Pin Buzz_Pin */
  GPIO_InitStruct.Pin = AIN1_Pin|Buzz_Pin;
  GPIO_InitStruct.Mode = GPIO_MODE_OUTPUT_PP;
  GPIO_InitStruct.Pull = GPIO_NOPULL;
  GPIO_InitStruct.Speed = GPIO_SPEED_FREQ_LOW;
  HAL_GPIO_Init(GPIOE, &GPIO_InitStruct);

  /*Configure GPIO pin : USB_UCPD_CC2_Pin */
  GPIO_InitStruct.Pin = USB_UCPD_CC2_Pin;
  GPIO_InitStruct.Mode = GPIO_MODE_ANALOG;
  GPIO_InitStruct.Pull = GPIO_NOPULL;
  HAL_GPIO_Init(USB_UCPD_CC2_GPIO_Port, &GPIO_InitStruct);

  /*Configure GPIO pins : Mems_STSAFE_RESET_Pin PF13 WRLS_WKUP_W_Pin */
  GPIO_InitStruct.Pin = Mems_STSAFE_RESET_Pin|GPIO_PIN_13|WRLS_WKUP_W_Pin;
  GPIO_InitStruct.Mode = GPIO_MODE_OUTPUT_PP;
  GPIO_InitStruct.Pull = GPIO_NOPULL;
  GPIO_InitStruct.Speed = GPIO_SPEED_FREQ_LOW;
  HAL_GPIO_Init(GPIOF, &GPIO_InitStruct);

  /*Configure GPIO pins : SOFT_SCL_Pin SOFT_SDA_Pin */
  GPIO_InitStruct.Pin = SOFT_SCL_Pin|SOFT_SDA_Pin;
  GPIO_InitStruct.Mode = GPIO_MODE_OUTPUT_OD;
  GPIO_InitStruct.Pull = GPIO_NOPULL;
  GPIO_InitStruct.Speed = GPIO_SPEED_FREQ_LOW;
  HAL_GPIO_Init(GPIOE, &GPIO_InitStruct);

  /*Configure GPIO pin : MIC_SDIN0_Pin */
  GPIO_InitStruct.Pin = MIC_SDIN0_Pin;
  GPIO_InitStruct.Mode = GPIO_MODE_AF_PP;
  GPIO_InitStruct.Pull = GPIO_NOPULL;
  GPIO_InitStruct.Speed = GPIO_SPEED_FREQ_LOW;
  GPIO_InitStruct.Alternate = GPIO_AF6_MDF1;
  HAL_GPIO_Init(MIC_SDIN0_GPIO_Port, &GPIO_InitStruct);

  /* USER CODE BEGIN MX_GPIO_Init_2 */
  /* Wi-Fi handshake lines: use EXTI to wake middleware RX/TX worker. */
  GPIO_InitStruct.Pin = WRLS_NOTIFY_Pin;
  GPIO_InitStruct.Mode = GPIO_MODE_IT_RISING;
  GPIO_InitStruct.Pull = GPIO_NOPULL;
  HAL_GPIO_Init(WRLS_NOTIFY_GPIO_Port, &GPIO_InitStruct);

  GPIO_InitStruct.Pin = WRLS_FLOW_Pin;
  GPIO_InitStruct.Mode = GPIO_MODE_IT_RISING;
  GPIO_InitStruct.Pull = GPIO_NOPULL;
  HAL_GPIO_Init(WRLS_FLOW_GPIO_Port, &GPIO_InitStruct);

  /* WKUP_B is module-driven on this board; keep host pin as input (Hi-Z). */
  GPIO_InitStruct.Pin = WRLS_WKUP_B_Pin;
  GPIO_InitStruct.Mode = GPIO_MODE_INPUT;
  GPIO_InitStruct.Pull = GPIO_NOPULL;
  HAL_GPIO_Init(WRLS_WKUP_B_GPIO_Port, &GPIO_InitStruct);

  HAL_NVIC_SetPriority(EXTI14_IRQn, 5, 0);
  HAL_NVIC_EnableIRQ(EXTI14_IRQn);
  HAL_NVIC_SetPriority(EXTI15_IRQn, 5, 0);
  HAL_NVIC_EnableIRQ(EXTI15_IRQn);

  /* USER CODE END MX_GPIO_Init_2 */
}

void Error_Handler(void)
{
	__disable_irq();
	while (1)
	{
	}
}
